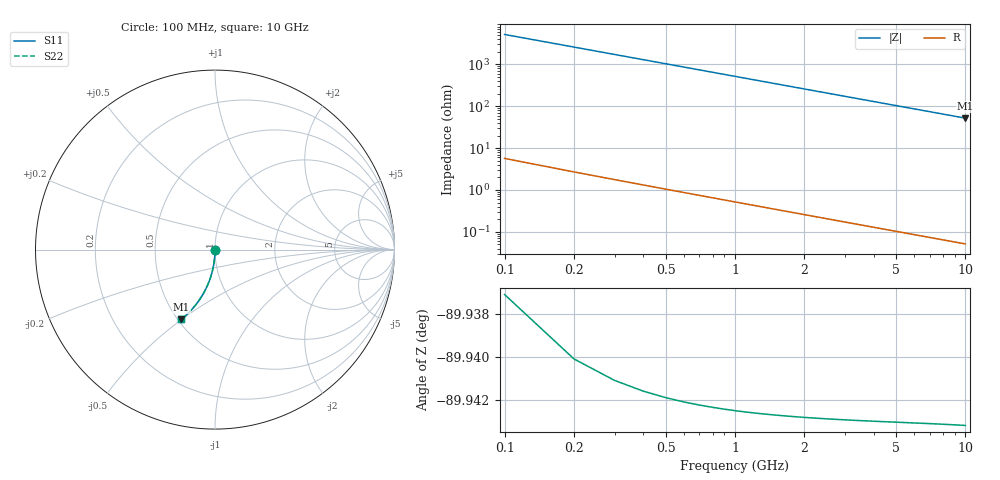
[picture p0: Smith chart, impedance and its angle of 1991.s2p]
# Hz S RI R 50.00
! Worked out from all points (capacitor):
!   100 points, 100 MHz to 10 GHz, reference 50 ohm
!   read as one part in shunt: C = 308 fF near 100 MHz
!   lowest |Z| = 52 ohm at 10 GHz (marker M1)
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1e8  -1.95e-05 -0.00482  1 -0.00485  1 -0.00485  -1.95e-05 -0.00482
2e8  -9.44e-05 -0.00963  0.9999 -0.0097  0.9999 -0.0097  -9.44e-05 -0.00963
3e8  -0.000216 -0.0145  0.9998 -0.0146  0.9998 -0.0146  -0.000216 -0.0145
4e8  -0.000384 -0.0193  0.9996 -0.0194  0.9996 -0.0194  -0.000384 -0.0193
5e8  -0.000599 -0.0241  0.9994 -0.0242  0.9994 -0.0242  -0.000599 -0.0241
6e8  -0.000861 -0.0289  0.9991 -0.0291  0.9991 -0.0291  -0.000861 -0.0289
7e8  -0.00117 -0.0337  0.9988 -0.0339  0.9988 -0.0339  -0.00117 -0.0337
8e8  -0.00152 -0.0385  0.9985 -0.0388  0.9985 -0.0388  -0.00152 -0.0385
9e8  -0.00192 -0.0433  0.9981 -0.0436  0.9981 -0.0436  -0.00192 -0.0433
1.1e9  -0.00286 -0.0528  0.9971 -0.0532  0.9971 -0.0532  -0.00286 -0.0528
1.4e9  -0.00462 -0.0671  0.9954 -0.0676  0.9954 -0.0676  -0.00462 -0.0671
1.8e9  -0.00759 -0.086  0.9924 -0.0866  0.9924 -0.0866  -0.00759 -0.086
2.1e9  -0.0103 -0.1001  0.9897 -0.1008  0.9897 -0.1008  -0.0103 -0.1001
2.5e9  -0.0145 -0.1186  0.9855 -0.1195  0.9855 -0.1195  -0.0145 -0.1186
2.9e9  -0.0194 -0.1369  0.9806 -0.1379  0.9806 -0.1379  -0.0194 -0.1369
3.4e9  -0.0264 -0.1593  0.9736 -0.1604  0.9736 -0.1604  -0.0264 -0.1593
4.2e9  -0.0397 -0.194  0.9603 -0.1954  0.9603 -0.1954  -0.0397 -0.194
5.1e9  -0.0573 -0.231  0.9427 -0.2328  0.9427 -0.2328  -0.0573 -0.231
5.9e9  -0.0751 -0.2621  0.9249 -0.2641  0.9249 -0.2641  -0.0751 -0.2621
6.7e9  -0.0947 -0.2911  0.9053 -0.2935  0.9053 -0.2935  -0.0947 -0.2911
8.4e9  -0.1409 -0.3459  0.8591 -0.3489  0.8591 -0.3489  -0.1409 -0.3459
1e10  -0.1882 -0.3886  0.8118 -0.3921  0.8118 -0.3921  -0.1882 -0.3886
